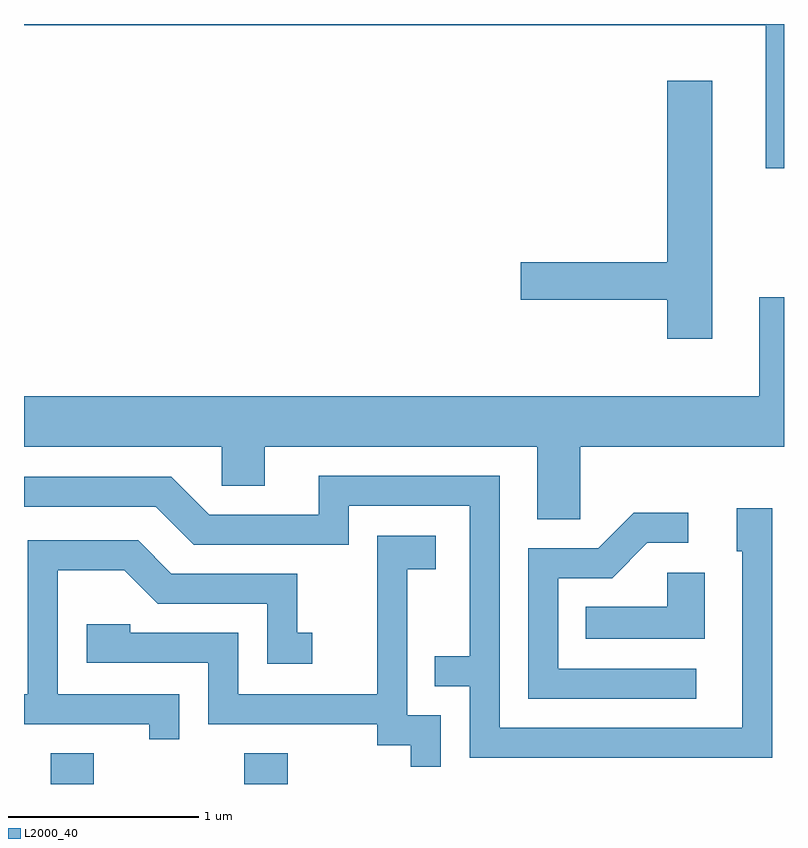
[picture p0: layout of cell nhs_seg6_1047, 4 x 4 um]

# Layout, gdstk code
import gdstk
lib = gdstk.Library(unit=1e-6, precision=1e-09)
def R(c, l, rs):  # rectangles x0, y0, x1, y1
    for r in rs: c.add(gdstk.rectangle(r[:2], r[2:], *l))
def P(c, l, *ps):  # polygons
    for p in ps: c.add(gdstk.Polygon(p, *l))
L2000_40 = (2000, 40)

nhs_seg6_1047 = lib.new_cell('nhs_seg6_1047')
R(nhs_seg6_1047, L2000_40, [(215.751,1648.162,215.979,1648.324), (216.771,1648.162,216.999,1648.324)])
P(nhs_seg6_1047, L2000_40, [(219.611,1652.162),(215.611,1652.162),(215.611,1652.156),(219.516,1652.156),(219.516,1651.403),(219.611,1651.403)],
  [(219.234,1651.864),(218.996,1651.864),(218.996,1650.909),(218.226,1650.909),(218.226,1650.711),(218.996,1650.711),(218.996,1650.506),(219.234,1650.506)],
  [(218.539,1649.936),(219.611,1649.936),(219.611,1650.724),(219.481,1650.724),(219.481,1650.204),(215.611,1650.204),(215.611,1649.936),(216.651,1649.936),(216.651,1649.731),(216.879,1649.731),(216.879,1649.936),(218.311,1649.936),(218.311,1649.556),(218.539,1649.556)],
  [(219.549,1649.614),(219.361,1649.614),(219.361,1649.386),(219.391,1649.386),(219.391,1648.459),(218.114,1648.459),(218.114,1649.784),(217.161,1649.784),(217.161,1649.579),(216.587,1649.579),(216.387,1649.779),(215.611,1649.779),(215.611,1649.621),(216.304,1649.621),(216.504,1649.421),(217.319,1649.421),(217.319,1649.626),(217.956,1649.626),(217.956,1648.834),(217.773,1648.834),(217.773,1648.676),(217.956,1648.676),(217.956,1648.301),(219.549,1648.301)],
  [(219.148,1648.769),(218.424,1648.769),(218.424,1649.246),(218.707,1649.246),(218.892,1649.431),(219.108,1649.431),(219.108,1649.589),(218.819,1649.589),(218.634,1649.404),(218.266,1649.404),(218.266,1648.611),(219.148,1648.611)],
  [(217.804,1648.524),(217.629,1648.524),(217.629,1649.291),(217.779,1649.291),(217.779,1649.469),(217.471,1649.469),(217.471,1648.634),(216.739,1648.634),(216.739,1648.959),(216.169,1648.959),(216.169,1649.004),(215.941,1649.004),(215.941,1648.801),(216.581,1648.801),(216.581,1648.476),(217.471,1648.476),(217.471,1648.366),(217.646,1648.366),(217.646,1648.253),(217.804,1648.253)],
  [(216.429,1648.634),(215.789,1648.634),(215.789,1649.286),(216.139,1649.286),(216.314,1649.111),(216.891,1649.111),(216.891,1648.796),(217.128,1648.796),(217.128,1648.959),(217.049,1648.959),(217.049,1649.269),(216.387,1649.269),(216.212,1649.444),(215.631,1649.444),(215.631,1648.634),(215.611,1648.634),(215.611,1648.476),(216.271,1648.476),(216.271,1648.398),(216.429,1648.398)],
  [(219.194,1649.274),(218.996,1649.274),(218.996,1649.094),(218.568,1649.094),(218.568,1648.926),(219.194,1648.926)])

lib.write_gds('nhs_seg6_1047.gds')
